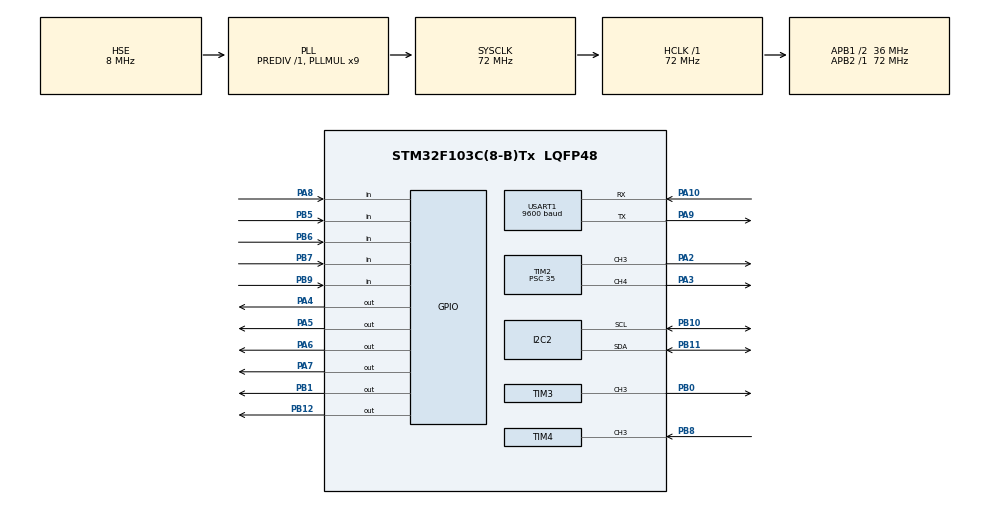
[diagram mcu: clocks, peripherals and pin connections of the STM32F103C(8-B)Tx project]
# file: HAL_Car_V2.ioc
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I2C2.I2C_Mode=I2C_Fast
Mcu.Family=STM32F1
Mcu.Name=STM32F103C(8-B)Tx
Mcu.Package=LQFP48
NVIC.PriorityGroup=NVIC_PRIORITYGROUP_4
NVIC.USART1_IRQn=true\:0\:0\:false\:false\:true\:true\:true
PA10.Mode=Asynchronous
PA10.Signal=USART1_RX
PA13.Mode=Serial_Wire
PA13.Signal=SYS_JTMS-SWDIO
PA14.Mode=Serial_Wire
PA14.Signal=SYS_JTCK-SWCLK
PA2.GPIO_Speed=GPIO_SPEED_FREQ_HIGH
PA2.Signal=S_TIM2_CH3
PA3.GPIO_Speed=GPIO_SPEED_FREQ_HIGH
PA3.Signal=S_TIM2_CH4
PA4.Signal=GPIO_Output
PA5.Signal=GPIO_Output
PA6.Signal=GPIO_Output
PA7.Signal=GPIO_Output
PA8.GPIO_PuPd=GPIO_PULLUP
PA8.Signal=GPIO_Input
PA9.Mode=Asynchronous
PA9.Signal=USART1_TX
PB0.GPIO_Speed=GPIO_SPEED_FREQ_HIGH
PB0.Signal=S_TIM3_CH3
PB1.PinState=GPIO_PIN_SET
PB1.Signal=GPIO_Output
PB10.Mode=I2C
PB10.Signal=I2C2_SCL
PB11.Mode=I2C
PB11.Signal=I2C2_SDA
PB12.Signal=GPIO_Output
PB5.Signal=GPIO_Input
PB6.Signal=GPIO_Input
PB7.Signal=GPIO_Input
PB8.Signal=S_TIM4_CH3
PB9.Signal=GPIO_Input
PD0-OSC_IN.Mode=HSE-External-Oscillator
PD0-OSC_IN.Signal=RCC_OSC_IN
PD1-OSC_OUT.Mode=HSE-External-Oscillator
PD1-OSC_OUT.Signal=RCC_OSC_OUT
ProjectManager.HeapSize=0x200
ProjectManager.StackSize=0x400
ProjectManager.TargetToolchain=MDK-ARM V5.32
RCC.AHBFreq_Value=72000000
RCC.APB1CLKDivider=RCC_HCLK_DIV2
RCC.APB1Freq_Value=36000000
RCC.APB1TimFreq_Value=72000000
RCC.APB2Freq_Value=72000000
RCC.APB2TimFreq_Value=72000000
RCC.HCLKFreq_Value=72000000
RCC.PLLMUL=RCC_PLL_MUL9
RCC.PLLSourceVirtual=RCC_PLLSOURCE_HSE
RCC.SYSCLKFreq_VALUE=72000000
RCC.SYSCLKSource=RCC_SYSCLKSOURCE_PLLCLK
RCC.USBFreq_Value=72000000
SH.S_TIM2_CH3.0=TIM2_CH3,PWM Generation3 CH3
SH.S_TIM2_CH4.0=TIM2_CH4,PWM Generation4 CH4
SH.S_TIM3_CH3.0=TIM3_CH3,PWM Generation3 CH3
SH.S_TIM4_CH3.0=TIM4_CH3,Input_Capture3_from_TI3
TIM2.AutoReloadPreload=TIM_AUTORELOAD_PRELOAD_ENABLE
TIM2.Channel-PWM\ Generation3\ CH3=TIM_CHANNEL_3
TIM2.Channel-PWM\ Generation4\ CH4=TIM_CHANNEL_4
TIM2.Period=99
TIM2.Prescaler=35
TIM3.AutoReloadPreload=TIM_AUTORELOAD_PRELOAD_ENABLE
TIM3.Channel-PWM\ Generation3\ CH3=TIM_CHANNEL_3
TIM3.Period=19999
TIM3.Prescaler=71
TIM4.AutoReloadPreload=TIM_AUTORELOAD_PRELOAD_ENABLE
TIM4.Channel-Input_Capture3_from_TI3=TIM_CHANNEL_3
TIM4.Channel-Input_Capture4_from_TI3_63=TIM_CHANNEL_4
TIM4.ICPolarity_CH4=TIM_INPUTCHANNELPOLARITY_FALLING
TIM4.Period=59999
TIM4.Prescaler=71
USART1.BaudRate=9600
USART1.VirtualMode=VM_ASYNC
VP_TIM2_VS_ClockSourceINT.Mode=Internal
VP_TIM3_VS_ClockSourceINT.Mode=Internal
VP_TIM4_VS_ClockSourceINT.Mode=Internal
VP_TIM4_VS_indirect_ch3.Mode=Input_Capture4_from_TI3_63
board=custom

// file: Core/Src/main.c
/* USER CODE BEGIN Header */
/**
  ******************************************************************************
  * @file           : main.c
  * @brief          : Main program body
  ******************************************************************************
  * @attention
  *
  * <h2><center>&copy; Copyright (c) 2026 STMicroelectronics.
  * All rights reserved.</center></h2>
  *
  * This software component is licensed by ST under BSD 3-Clause license,
  * the "License"; You may not use this file except in compliance with the
  * License. You may obtain a copy of the License at:
  *                        opensource.org/licenses/BSD-3-Clause
  *
  ******************************************************************************
  */
/* USER CODE END Header */
#include "main.h"
#include "i2c.h"
#include "tim.h"
#include "usart.h"
#include "gpio.h"

/* USER CODE BEGIN Includes */
#include "Motor.h"
#include "Car.h"
#include "Servo.h"
#include "Ultrasound.h"
#include "Track.h"
#include "Avoid.h"
#include "Buzzer.h"
#include "font.h"
#include "oled.h"
#include "OLED_Display.h"
/* USER CODE END Includes */

/* USER CODE BEGIN PV */
  uint8_t Data;
  uint8_t mode = '0';
  uint32_t presstime ;
  uint8_t isPressed = 0 ;
/* USER CODE END PV */

void SystemClock_Config(void);

int main(void)
{

  /* MCU Configuration--------------------------------------------------------*/

  /* Reset of all peripherals, Initializes the Flash interface and the Systick. */
  HAL_Init();

  /* Configure the system clock */
  SystemClock_Config();

  /* Initialize all configured peripherals */
  MX_GPIO_Init();
  MX_TIM2_Init();
  MX_TIM3_Init();
  MX_TIM4_Init();
  MX_USART1_UART_Init();
  MX_I2C2_Init();
  /* USER CODE BEGIN 2 */

  HAL_TIM_PWM_Start(&htim2,TIM_CHANNEL_3);
  HAL_TIM_PWM_Start(&htim2,TIM_CHANNEL_4);
  HAL_TIM_PWM_Start(&htim3,TIM_CHANNEL_3);

  HAL_UART_Receive_IT(&huart1, &Data, 1);

	HAL_Delay (20);
	OLED_Init ();
  /* USER CODE END 2 */

  /* Infinite loop */
  /* USER CODE BEGIN WHILE */
  while (1)
  {
	  if(mode == 'A') Avoid_Run();
      else if(mode == 'B') Track_Run();

		OLED_ShowStatus();

	  if(HAL_GPIO_ReadPin(GPIOA,GPIO_PIN_8) == 0)
	  {
		  presstime = HAL_GetTick();
		  isPressed = 1 ;
	  }
	  else if(HAL_GPIO_ReadPin(GPIOA,GPIO_PIN_8) == 1&&isPressed == 1)
	  {
		  if(HAL_GetTick()- presstime > 1000)
		  {
			  if(mode=='0'){mode='A';Car_Stop();Buzzer_Once();}
			  else if(mode=='A'){mode='B';Car_Stop();Buzzer_Once();}
			  else if(mode=='B'){mode='0';Car_Stop();Buzzer_Once();}
		  }
		  isPressed = 0 ;
	  }

    /* USER CODE END WHILE */

  }
}

void SystemClock_Config(void)
{
  RCC_OscInitTypeDef RCC_OscInitStruct = {0};
  RCC_ClkInitTypeDef RCC_ClkInitStruct = {0};

  /** Initializes the RCC Oscillators according to the specified parameters
  * in the RCC_OscInitTypeDef structure.
  */
  RCC_OscInitStruct.OscillatorType = RCC_OSCILLATORTYPE_HSE;
  RCC_OscInitStruct.HSEState = RCC_HSE_ON;
  RCC_OscInitStruct.HSEPredivValue = RCC_HSE_PREDIV_DIV1;
  RCC_OscInitStruct.HSIState = RCC_HSI_ON;
  RCC_OscInitStruct.PLL.PLLState = RCC_PLL_ON;
  RCC_OscInitStruct.PLL.PLLSource = RCC_PLLSOURCE_HSE;
  RCC_OscInitStruct.PLL.PLLMUL = RCC_PLL_MUL9;
  if (HAL_RCC_OscConfig(&RCC_OscInitStruct) != HAL_OK)
  {
    Error_Handler();
  }
  /** Initializes the CPU, AHB and APB buses clocks
  */
  RCC_ClkInitStruct.ClockType = RCC_CLOCKTYPE_HCLK|RCC_CLOCKTYPE_SYSCLK
                              |RCC_CLOCKTYPE_PCLK1|RCC_CLOCKTYPE_PCLK2;
  RCC_ClkInitStruct.SYSCLKSource = RCC_SYSCLKSOURCE_PLLCLK;
  RCC_ClkInitStruct.AHBCLKDivider = RCC_SYSCLK_DIV1;
  RCC_ClkInitStruct.APB1CLKDivider = RCC_HCLK_DIV2;
  RCC_ClkInitStruct.APB2CLKDivider = RCC_HCLK_DIV1;

  if (HAL_RCC_ClockConfig(&RCC_ClkInitStruct, FLASH_LATENCY_2) != HAL_OK)
  {
    Error_Handler();
  }
}

/* USER CODE BEGIN 4 */
void HAL_UART_RxCpltCallback(UART_HandleTypeDef *huart)
{
    if(huart == &huart1)
    	{
			if(Data=='A') { mode = 'A'; Car_Stop();Buzzer_Once(); }
			if(Data=='B') { mode = 'B'; Car_Stop(); Buzzer_Once();}
			if(Data== '0') { mode = '0';  Car_Stop(); Buzzer_Once();}
			if(mode == '0')
			{
				if(Data=='1')Car_Stop();
				if(Data=='2')Go_Ahead();
				if(Data=='3')Go_Back();
				if(Data=='4')Turn_Left();
				if(Data=='5')Turn_Right();
				if(Data=='6')Self_Left();
				if(Data=='7')Self_Right();
				if(Data=='8'&&CarSpeed < 90){CarSpeed = CarSpeed + 20;}
				if(Data=='9'&&CarSpeed > 50){CarSpeed = CarSpeed - 20;}
			}
			if(Data =='K') {BuzzerEnable = 1;}
			if(Data =='G') {BuzzerEnable = 0;}
			HAL_UART_Receive_IT(&huart1, &Data, 1);
		}
}
/* USER CODE END 4 */

void Error_Handler(void)
{
  __disable_irq();
  while (1)
  {
  }
}

/************************ (C) COPYRIGHT STMicroelectronics *****END OF FILE****/
